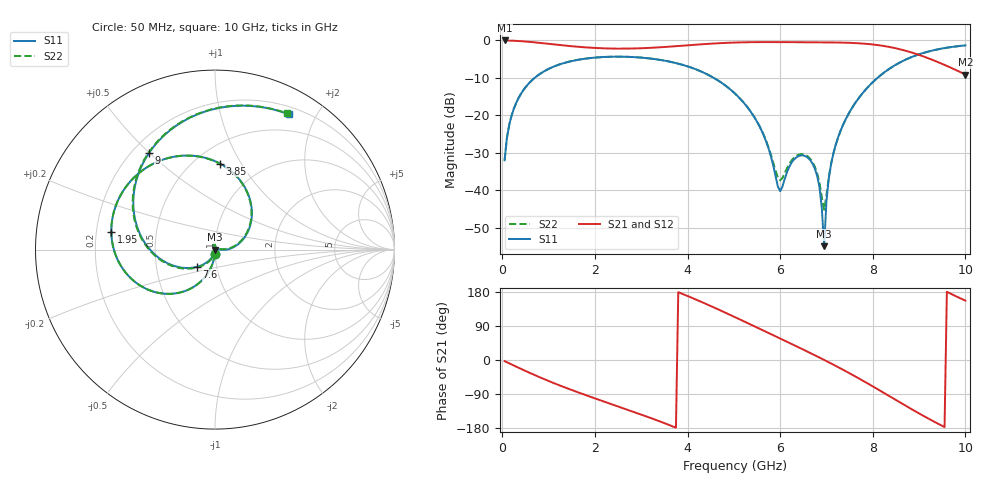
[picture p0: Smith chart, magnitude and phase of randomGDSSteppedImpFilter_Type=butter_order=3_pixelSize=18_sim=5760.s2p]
! freq	dB(S11)	phase(S11)	dB(S12)	phase(S12)
!  dB(S21)	phase(S21)	dB(S22)	phase(S22)
!S-par simulation data
#  GHz  S  DB  R 50
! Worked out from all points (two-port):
!   200 points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, 50 MHz to 10 GHz, reference 50 ohm
!   highest |S21| = -0.01 dB at 50 MHz (marker M1); lowest = -9.1 dB at 10 GHz (marker M2)
!   |S21| within 3 dB of the highest: start of sweep to 8.781 GHz
!   lowest |S11| = -55.0 dB at 6.95 GHz (marker M3), VSWR 1.00, Z = 50.2 - j0.0633 ohm
!   |S11| at or under -10 dB: start of sweep to 699.1 MHz; 4.566 GHz to 8.102 GHz (3.536 GHz wide, 55.8 % of centre)
!   |S22| runs from -45.3 to -1.3 dB; largest |S21 - S12| = 0
!   S11 on the Smith chart (normalised r, x): 50 MHz: 1.00, -0.05; 1.95 GHz: 0.26, +0.08; 3.85 GHz: 0.65, +0.82; 7.6 GHz: 0.80, -0.16; 9 GHz: 0.27, +0.50; 10 GHz: 0.29, +1.64
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0.05  -32.01 -93.0  -0.01 -3.0  -0.01 -3.0  -32.00 -93.0
0.2  -20.09 -102.2  -0.06 -11.7  -0.06 -11.7  -20.09 -102.2
0.5  -12.54 -119.4  -0.29 -28.8  -0.29 -28.8  -12.54 -119.3
1.05  -7.31 -148.5  -0.97 -57.9  -0.97 -57.9  -7.31 -148.4
1.75  -4.94 179.0  -1.81 -90.4  -1.81 -90.4  -4.94 179.1
1.95  -4.64 170.4  -1.97 -99.1  -1.97 -99.1  -4.64 170.4
3.4  -5.18 107.9  -1.84 -161.9  -1.84 -161.9  -5.18 108.1
3.85  -6.37 86.7  -1.45 176.5  -1.45 176.5  -6.37 87.0
4.45  -9.22 56.2  -0.91 145.2  -0.91 145.2  -9.21 56.8
5.05  -14.49 24.5  -0.55 111.7  -0.55 111.7  -14.48 25.7
5.6  -24.12 -0.4  -0.44 80.0  -0.44 80.0  -24.01 3.1
6  -40.28 60.2  -0.45 56.8  -0.45 56.8  -37.39 59.3
6.35  -31.24 110.1  -0.47 36.3  -0.47 36.3  -30.83 102.7
6.7  -32.94 94.1  -0.49 15.5  -0.49 15.5  -32.52 84.7
6.85  -39.28 82.2  -0.50 6.4  -0.50 6.4  -38.09 64.1
6.95  -54.97 -20.7  -0.51 0.2  -0.51 0.2  -45.26 -5.8
7  -42.94 -88.2  -0.51 -2.9  -0.51 -2.9  -41.41 -59.4
7.1  -33.02 -101.8  -0.53 -9.1  -0.53 -9.1  -32.95 -91.2
7.6  -17.10 -136.5  -0.69 -41.8  -0.69 -41.8  -17.11 -134.6
8.35  -7.64 170.5  -1.72 -94.7  -1.72 -94.7  -7.65 171.4
9  -3.70 124.1  -3.87 -141.0  -3.87 -141.0  -3.71 124.8
10  -1.33 61.5  -9.11 156.6  -9.11 156.6  -1.33 62.1
